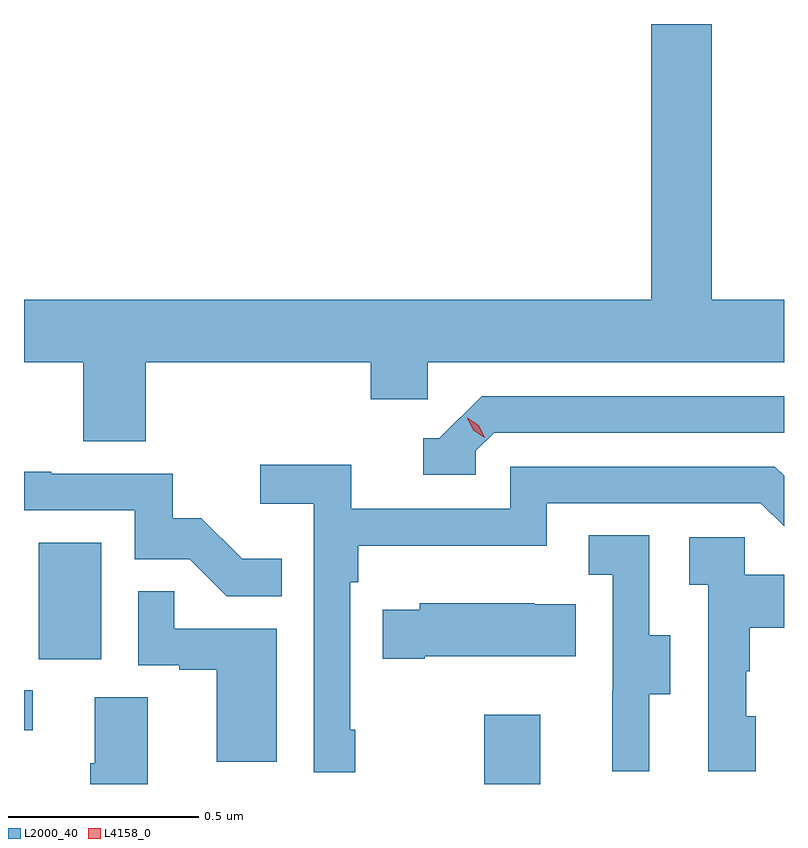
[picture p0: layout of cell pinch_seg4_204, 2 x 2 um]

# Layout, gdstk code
import gdstk
lib = gdstk.Library(unit=1e-6, precision=1e-09)
def R(c, l, rs):  # rectangles x0, y0, x1, y1
    for r in rs: c.add(gdstk.rectangle(r[:2], r[2:], *l))
def P(c, l, *ps):  # polygons
    for p in ps: c.add(gdstk.Polygon(p, *l))
L2000_40 = (2000, 40)
L4158_0 = (4158, 0)

pinch_seg4_204 = lib.new_cell('pinch_seg4_204')
R(pinch_seg4_204, L2000_40, [(977.014,817.022,977.161,817.204), (975.803,817.164,975.826,817.269), (975.842,817.35,976.006,817.657)])
P(pinch_seg4_204, L2000_40, [(975.803,818.132),(975.959,818.132),(975.959,817.924),(976.124,817.924),(976.124,818.132),(976.715,818.132),(976.715,818.034),(976.866,818.034),(976.866,818.132),(977.803,818.132),(977.803,818.296),(977.613,818.296),(977.613,819.022),(977.453,819.022),(977.453,818.296),(975.803,818.296)],
  [(976.992,817.899),(977.04,817.947),(977.803,817.947),(977.803,818.043),(977.007,818.043),(976.896,817.932),(976.853,817.932),(976.853,817.836),(976.992,817.836)],
  [(976.675,817.165),(976.662,817.165),(976.662,817.553),(976.682,817.553),(976.682,817.649),(977.178,817.649),(977.178,817.761),(977.742,817.761),(977.803,817.7),(977.803,817.833),(977.779,817.857),(977.082,817.857),(977.082,817.746),(976.664,817.746),(976.664,817.862),(976.425,817.862),(976.425,817.76),(976.566,817.76),(976.566,817.053),(976.675,817.053)],
  [(976.481,817.615),(976.377,817.615),(976.27,817.722),(976.194,817.722),(976.194,817.839),(975.875,817.839),(975.875,817.844),(975.803,817.844),(975.803,817.743),(976.095,817.743),(976.095,817.614),(976.239,817.614),(976.337,817.516),(976.481,817.516)],
  [(977.449,817.258),(977.503,817.258),(977.503,817.413),(977.448,817.413),(977.448,817.676),(977.289,817.676),(977.289,817.573),(977.352,817.573),(977.352,817.269),(977.351,817.269),(977.351,817.056),(977.449,817.056)],
  [(977.728,817.2),(977.703,817.2),(977.703,817.319),(977.713,817.319),(977.713,817.433),(977.803,817.433),(977.803,817.573),(977.7,817.573),(977.7,817.671),(977.553,817.671),(977.553,817.547),(977.604,817.547),(977.604,817.056),(977.728,817.056)],
  [(976.468,817.431),(976.199,817.431),(976.199,817.529),(976.104,817.529),(976.104,817.335),(976.211,817.335),(976.211,817.323),(976.31,817.323),(976.31,817.08),(976.468,817.08)],
  [(976.858,817.358),(977.255,817.358),(977.255,817.495),(977.147,817.495),(977.147,817.498),(976.845,817.498),(976.845,817.48),(976.747,817.48),(976.747,817.351),(976.858,817.351)],
  [(976.129,817.25),(975.989,817.25),(975.989,817.076),(975.977,817.076),(975.977,817.022),(976.129,817.022)])
P(pinch_seg4_204, L4158_0, [(977.016,817.933),(976.985,817.953),(976.97,817.986),(976.97,817.986),(976.97,817.986),(977,817.966),(977.016,817.934),(977.016,817.933)])

lib.write_gds('pinch_seg4_204.gds')
